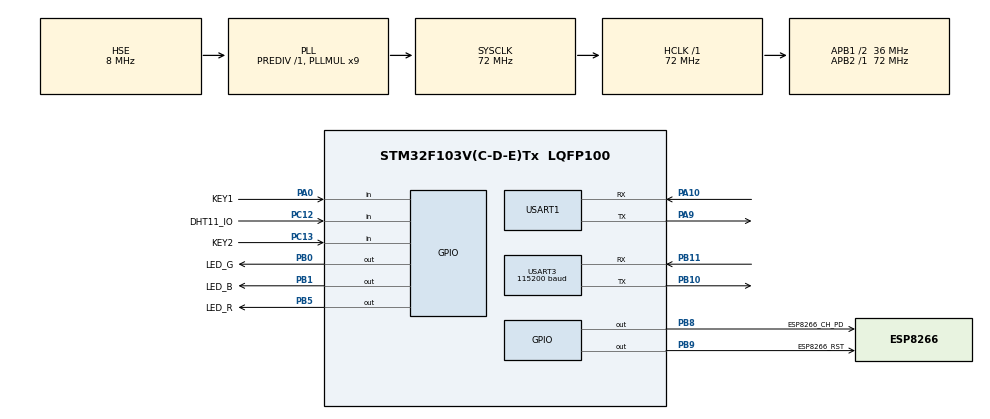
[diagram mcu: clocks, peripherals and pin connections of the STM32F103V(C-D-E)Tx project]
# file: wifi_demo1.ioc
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Mcu.Family=STM32F1
Mcu.Name=STM32F103V(C-D-E)Tx
Mcu.Package=LQFP100
NVIC.PriorityGroup=NVIC_PRIORITYGROUP_1
NVIC.USART1_IRQn=true\:0\:0\:false\:false\:true\:true\:true\:true
NVIC.USART3_IRQn=true\:0\:0\:false\:false\:true\:true\:true\:true
OSC_IN.Mode=HSE-External-Oscillator
OSC_IN.Signal=RCC_OSC_IN
OSC_OUT.Mode=HSE-External-Oscillator
OSC_OUT.Signal=RCC_OSC_OUT
PA0-WKUP.GPIO_Label=KEY1
PA0-WKUP.GPIO_PuPd=GPIO_PULLDOWN
PA0-WKUP.Signal=GPIO_Input
PA10.Mode=Asynchronous
PA10.Signal=USART1_RX
PA13.Mode=JTAG_5_pins
PA13.Signal=SYS_JTMS-SWDIO
PA14.Mode=JTAG_5_pins
PA14.Signal=SYS_JTCK-SWCLK
PA15.Mode=JTAG_5_pins
PA15.Signal=SYS_JTDI
PA9.Mode=Asynchronous
PA9.Signal=USART1_TX
PB0.GPIO_Label=LED_G
PB0.PinState=GPIO_PIN_SET
PB0.Signal=GPIO_Output
PB1.GPIO_Label=LED_B
PB1.PinState=GPIO_PIN_SET
PB1.Signal=GPIO_Output
PB10.Mode=Asynchronous
PB10.Signal=USART3_TX
PB11.Mode=Asynchronous
PB11.Signal=USART3_RX
PB3.Mode=JTAG_5_pins
PB3.Signal=SYS_JTDO-TRACESWO
PB4.Mode=JTAG_5_pins
PB4.Signal=SYS_NJTRST
PB5.GPIO_Label=LED_R
PB5.PinState=GPIO_PIN_SET
PB5.Signal=GPIO_Output
PB8.GPIO_Label=ESP8266_CH_PD
PB8.Signal=GPIO_Output
PB9.GPIO_Label=ESP8266_RST
PB9.Signal=GPIO_Output
PC12.GPIO_Label=DHT11_IO
PC12.GPIO_PuPd=GPIO_PULLUP
PC12.Signal=GPIO_Input
PC13-TAMPER-RTC.GPIO_Label=KEY2
PC13-TAMPER-RTC.GPIO_PuPd=GPIO_PULLDOWN
PC13-TAMPER-RTC.Signal=GPIO_Input
ProjectManager.HeapSize=0x200
ProjectManager.StackSize=0x400
ProjectManager.TargetToolchain=MDK-ARM V5.32
RCC.AHBFreq_Value=72000000
RCC.APB1CLKDivider=RCC_HCLK_DIV2
RCC.APB1Freq_Value=36000000
RCC.APB1TimFreq_Value=72000000
RCC.APB2Freq_Value=72000000
RCC.APB2TimFreq_Value=72000000
RCC.HCLKFreq_Value=72000000
RCC.PLLMUL=RCC_PLL_MUL9
RCC.PLLSourceVirtual=RCC_PLLSOURCE_HSE
RCC.SYSCLKFreq_VALUE=72000000
RCC.SYSCLKSource=RCC_SYSCLKSOURCE_PLLCLK
RCC.USBFreq_Value=72000000
TIM4.Prescaler=71
USART1.VirtualMode=VM_ASYNC
USART3.BaudRate=115200
USART3.VirtualMode=VM_ASYNC
VP_TIM4_VS_ClockSourceINT.Mode=Internal
board=custom

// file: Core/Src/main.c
/* USER CODE BEGIN Header */
/**
  ******************************************************************************
  * @file           : main.c
  * @brief          : Main program body
  ******************************************************************************
  * @attention
  *
  * Copyright (c) 2024 STMicroelectronics.
  * All rights reserved.
  *
  * This software is licensed under terms that can be found in the LICENSE file
  * in the root directory of this software component.
  * If no LICENSE file comes with this software, it is provided AS-IS.
  *
  ******************************************************************************
  */
/* USER CODE END Header */
#include "main.h"

/* USER CODE BEGIN Includes */
#include "elog.h"
#include "dht11.h"
#include <stdio.h>
#include "dyn_mem.h"
#include "vmsgexec.h"
#include "app.h"
#include "esp8266.h"
#define LOG_TAG "WIRELESS"

/* USER CODE END Includes */

TIM_HandleTypeDef htim4;

UART_HandleTypeDef huart1;
UART_HandleTypeDef huart3;

void SystemClock_Config(void);
static void MX_GPIO_Init(void);
static void MX_TIM4_Init(void);
static void MX_USART1_UART_Init(void);
static void MX_USART3_UART_Init(void);
/* USER CODE BEGIN PFP */
int fputc(int ch, FILE *f)
{
    HAL_UART_Transmit(&huart1, (uint8_t *)&ch, 1, 0xffff);
    return ch;
}

/* USER CODE END PFP */

int main(void)
{

  /* MCU Configuration--------------------------------------------------------*/

  /* Reset of all peripherals, Initializes the Flash interface and the Systick. */
  HAL_Init();

  /* Configure the system clock */
  SystemClock_Config();

  /* Initialize all configured peripherals */
  MX_GPIO_Init();
  MX_TIM4_Init();
  MX_USART1_UART_Init();
  MX_USART3_UART_Init();
  /* USER CODE BEGIN 2 */

    elog_init();
    /* set EasyLogger log format */
    elog_set_fmt(ELOG_LVL_ASSERT, ELOG_FMT_ALL);
    elog_set_fmt(ELOG_LVL_ERROR, ELOG_FMT_LVL | ELOG_FMT_TAG | ELOG_FMT_TIME);
    elog_set_fmt(ELOG_LVL_WARN, ELOG_FMT_LVL | ELOG_FMT_TAG | ELOG_FMT_TIME);
    elog_set_fmt(ELOG_LVL_INFO, ELOG_FMT_LVL | ELOG_FMT_TAG | ELOG_FMT_TIME);
    elog_set_fmt(ELOG_LVL_DEBUG, ELOG_FMT_ALL & ~ELOG_FMT_FUNC);
    elog_set_fmt(ELOG_LVL_VERBOSE, ELOG_FMT_ALL & ~ELOG_FMT_FUNC);
    /* start EasyLogger */
    elog_start();

    dm_init();
    msgexec_init();
    vwm_timer_init();

    osKernelStart();
    app_init();

    log_i("system is running!!!");

  /* USER CODE END 2 */

  /* Infinite loop */
  /* USER CODE BEGIN WHILE */
    while (1) {
        msgexec_exec();
    /* USER CODE END WHILE */

    }
}

void SystemClock_Config(void)
{
  RCC_OscInitTypeDef RCC_OscInitStruct = {0};
  RCC_ClkInitTypeDef RCC_ClkInitStruct = {0};

  /** Initializes the RCC Oscillators according to the specified parameters
  * in the RCC_OscInitTypeDef structure.
  */
  RCC_OscInitStruct.OscillatorType = RCC_OSCILLATORTYPE_HSE;
  RCC_OscInitStruct.HSEState = RCC_HSE_ON;
  RCC_OscInitStruct.HSEPredivValue = RCC_HSE_PREDIV_DIV1;
  RCC_OscInitStruct.HSIState = RCC_HSI_ON;
  RCC_OscInitStruct.PLL.PLLState = RCC_PLL_ON;
  RCC_OscInitStruct.PLL.PLLSource = RCC_PLLSOURCE_HSE;
  RCC_OscInitStruct.PLL.PLLMUL = RCC_PLL_MUL9;
  if (HAL_RCC_OscConfig(&RCC_OscInitStruct) != HAL_OK)
  {
    Error_Handler();
  }

  /** Initializes the CPU, AHB and APB buses clocks
  */
  RCC_ClkInitStruct.ClockType = RCC_CLOCKTYPE_HCLK|RCC_CLOCKTYPE_SYSCLK
                              |RCC_CLOCKTYPE_PCLK1|RCC_CLOCKTYPE_PCLK2;
  RCC_ClkInitStruct.SYSCLKSource = RCC_SYSCLKSOURCE_PLLCLK;
  RCC_ClkInitStruct.AHBCLKDivider = RCC_SYSCLK_DIV1;
  RCC_ClkInitStruct.APB1CLKDivider = RCC_HCLK_DIV2;
  RCC_ClkInitStruct.APB2CLKDivider = RCC_HCLK_DIV1;

  if (HAL_RCC_ClockConfig(&RCC_ClkInitStruct, FLASH_LATENCY_2) != HAL_OK)
  {
    Error_Handler();
  }
}

static void MX_TIM4_Init(void)
{

  TIM_ClockConfigTypeDef sClockSourceConfig = {0};
  TIM_MasterConfigTypeDef sMasterConfig = {0};

  htim4.Instance = TIM4;
  htim4.Init.Prescaler = 71;
  htim4.Init.CounterMode = TIM_COUNTERMODE_UP;
  htim4.Init.Period = 65535;
  htim4.Init.ClockDivision = TIM_CLOCKDIVISION_DIV1;
  htim4.Init.AutoReloadPreload = TIM_AUTORELOAD_PRELOAD_DISABLE;
  if (HAL_TIM_Base_Init(&htim4) != HAL_OK)
  {
    Error_Handler();
  }
  sClockSourceConfig.ClockSource = TIM_CLOCKSOURCE_INTERNAL;
  if (HAL_TIM_ConfigClockSource(&htim4, &sClockSourceConfig) != HAL_OK)
  {
    Error_Handler();
  }
  sMasterConfig.MasterOutputTrigger = TIM_TRGO_RESET;
  sMasterConfig.MasterSlaveMode = TIM_MASTERSLAVEMODE_DISABLE;
  if (HAL_TIMEx_MasterConfigSynchronization(&htim4, &sMasterConfig) != HAL_OK)
  {
    Error_Handler();
  }

}

static void MX_USART1_UART_Init(void)
{

  huart1.Instance = USART1;
  huart1.Init.BaudRate = 115200;
  huart1.Init.WordLength = UART_WORDLENGTH_8B;
  huart1.Init.StopBits = UART_STOPBITS_1;
  huart1.Init.Parity = UART_PARITY_NONE;
  huart1.Init.Mode = UART_MODE_TX_RX;
  huart1.Init.HwFlowCtl = UART_HWCONTROL_NONE;
  huart1.Init.OverSampling = UART_OVERSAMPLING_16;
  if (HAL_UART_Init(&huart1) != HAL_OK)
  {
    Error_Handler();
  }

}

static void MX_USART3_UART_Init(void)
{

  huart3.Instance = USART3;
  huart3.Init.BaudRate = 115200;
  huart3.Init.WordLength = UART_WORDLENGTH_8B;
  huart3.Init.StopBits = UART_STOPBITS_1;
  huart3.Init.Parity = UART_PARITY_NONE;
  huart3.Init.Mode = UART_MODE_TX_RX;
  huart3.Init.HwFlowCtl = UART_HWCONTROL_NONE;
  huart3.Init.OverSampling = UART_OVERSAMPLING_16;
  if (HAL_UART_Init(&huart3) != HAL_OK)
  {
    Error_Handler();
  }

}

static void MX_GPIO_Init(void)
{
  GPIO_InitTypeDef GPIO_InitStruct = {0};

  /* GPIO Ports Clock Enable */
  __HAL_RCC_GPIOC_CLK_ENABLE();
  __HAL_RCC_GPIOA_CLK_ENABLE();
  __HAL_RCC_GPIOB_CLK_ENABLE();

  /*Configure GPIO pin Output Level */
  HAL_GPIO_WritePin(GPIOB, LED_G_Pin|LED_B_Pin|LED_R_Pin, GPIO_PIN_SET);

  /*Configure GPIO pin Output Level */
  HAL_GPIO_WritePin(GPIOB, ESP8266_CH_PD_Pin|ESP8266_RST_Pin, GPIO_PIN_RESET);

  /*Configure GPIO pin : KEY2_Pin */
  GPIO_InitStruct.Pin = KEY2_Pin;
  GPIO_InitStruct.Mode = GPIO_MODE_INPUT;
  GPIO_InitStruct.Pull = GPIO_PULLDOWN;
  HAL_GPIO_Init(KEY2_GPIO_Port, &GPIO_InitStruct);

  /*Configure GPIO pin : KEY1_Pin */
  GPIO_InitStruct.Pin = KEY1_Pin;
  GPIO_InitStruct.Mode = GPIO_MODE_INPUT;
  GPIO_InitStruct.Pull = GPIO_PULLDOWN;
  HAL_GPIO_Init(KEY1_GPIO_Port, &GPIO_InitStruct);

  /*Configure GPIO pins : LED_G_Pin LED_B_Pin LED_R_Pin ESP8266_CH_PD_Pin
                           ESP8266_RST_Pin */
  GPIO_InitStruct.Pin = LED_G_Pin|LED_B_Pin|LED_R_Pin|ESP8266_CH_PD_Pin
                          |ESP8266_RST_Pin;
  GPIO_InitStruct.Mode = GPIO_MODE_OUTPUT_PP;
  GPIO_InitStruct.Pull = GPIO_NOPULL;
  GPIO_InitStruct.Speed = GPIO_SPEED_FREQ_LOW;
  HAL_GPIO_Init(GPIOB, &GPIO_InitStruct);

  /*Configure GPIO pin : DHT11_IO_Pin */
  GPIO_InitStruct.Pin = DHT11_IO_Pin;
  GPIO_InitStruct.Mode = GPIO_MODE_INPUT;
  GPIO_InitStruct.Pull = GPIO_PULLUP;
  HAL_GPIO_Init(DHT11_IO_GPIO_Port, &GPIO_InitStruct);

}

void Error_Handler(void)
{
    __disable_irq();
    while (1) {
    }
}
